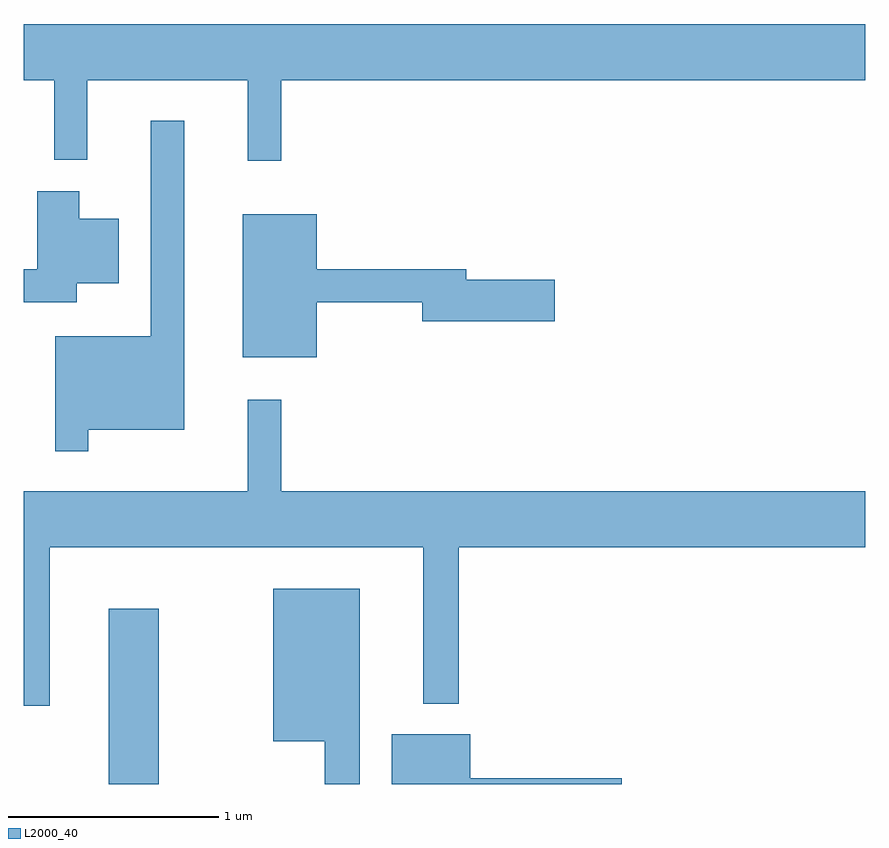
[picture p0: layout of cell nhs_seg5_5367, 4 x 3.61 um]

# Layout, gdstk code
import gdstk
lib = gdstk.Library(unit=1e-6, precision=1e-09)
def R(c, l, rs):  # rectangles x0, y0, x1, y1
    for r in rs: c.add(gdstk.rectangle(r[:2], r[2:], *l))
def P(c, l, *ps):  # polygons
    for p in ps: c.add(gdstk.Polygon(p, *l))
L2000_40 = (2000, 40)

nhs_seg5_5367 = lib.new_cell('nhs_seg5_5367')
R(nhs_seg5_5367, L2000_40, [(344.016,1500.072,344.254,1500.904)])
P(nhs_seg5_5367, L2000_40, [(344.834,1503.416),(347.611,1503.416),(347.611,1503.684),(343.611,1503.684),(343.611,1503.416),(343.756,1503.416),(343.756,1503.038),(343.914,1503.038),(343.914,1503.416),(344.676,1503.416),(344.676,1503.033),(344.834,1503.033)],
  [(343.919,1501.756),(344.374,1501.756),(344.374,1503.223),(344.216,1503.223),(344.216,1502.199),(343.761,1502.199),(343.761,1501.653),(343.919,1501.653)],
  [(343.864,1502.451),(344.064,1502.451),(344.064,1502.759),(343.874,1502.759),(343.874,1502.889),(343.676,1502.889),(343.676,1502.519),(343.611,1502.519),(343.611,1502.361),(343.864,1502.361)],
  [(345.004,1502.361),(345.506,1502.361),(345.506,1502.271),(346.134,1502.271),(346.134,1502.469),(345.714,1502.469),(345.714,1502.519),(345.004,1502.519),(345.004,1502.779),(344.651,1502.779),(344.651,1502.101),(345.004,1502.101)],
  [(343.734,1501.196),(345.511,1501.196),(345.511,1500.453),(345.679,1500.453),(345.679,1501.196),(347.611,1501.196),(347.611,1501.464),(344.834,1501.464),(344.834,1501.898),(344.676,1501.898),(344.676,1501.464),(343.611,1501.464),(343.611,1500.443),(343.734,1500.443)],
  [(345.209,1500.999),(344.796,1500.999),(344.796,1500.276),(345.041,1500.276),(345.041,1500.072),(345.209,1500.072)],
  [(346.454,1500.099),(345.734,1500.099),(345.734,1500.309),(345.361,1500.309),(345.361,1500.072),(346.454,1500.072)])

lib.write_gds('nhs_seg5_5367.gds')
